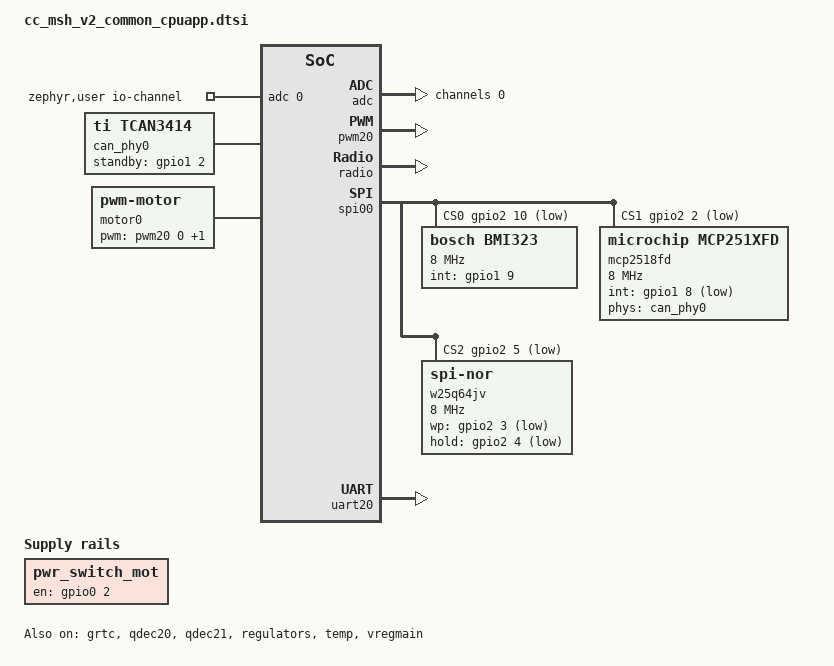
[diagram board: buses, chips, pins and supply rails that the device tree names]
/*
 * Copyright (c) 2025 Classified Cycling BV
 *
 * SPDX-License-Identifier: Apache-2.0
 */

/* This file is common to the secure and non-secure domain */

#include "cc_msh_v2_common.dtsi"

/ {
	chosen {
		zephyr,console = &uart20;
		zephyr,shell-uart = &uart20;
		zephyr,uart-mcumgr = &uart20;
		zephyr,bt-mon-uart = &uart20;
		zephyr,bt-c2h-uart = &uart20;
		zephyr,flash-controller = &rram_controller;
		zephyr,flash = &cpuapp_rram;
		zephyr,canbus = &mcp2518fd;
	};

	aliases {
		adc = &adc;
		encoder = &qdec20;
		motor = &motor0;
		pwr-switch-mot = &pwr_switch_mot;
		spi-flash0 = &w25q64jv;
	};

	zephyr,user {
		io-channels = <&adc 0>;
	};

	can_phy0: can-phy0 {
		compatible = "ti,tcan3414", "can-transceiver-gpio";
		standby-gpios = <&gpio1 2 GPIO_ACTIVE_HIGH>;
		min-bitrate = <10000>;
		max-bitrate = <8000000>;
		#phy-cells = <0>;
		status = "okay";
	};

	/* Regulator controlling the on-board +12VDC motor supply (TPS62148) */
	pwr_switch_mot: pwr-switch-mot  {
		compatible = "regulator-fixed";
		enable-gpios = <&gpio0 2 GPIO_ACTIVE_HIGH>;
		regulator-name = "pwr_switch_mot";
		startup-delay-us = <0>;
		off-on-delay-us = <8000>;  // TODO: Validate if 8 ms is still correct
	};

	motor0: motor_0 {
		compatible = "pwm-motor";
		pwms = <&pwm20 0 PWM_MSEC(1) PWM_POLARITY_NORMAL>,
		       <&pwm20 1 PWM_MSEC(1) PWM_POLARITY_NORMAL>;
		pwm-names ="alpha", "beta";
		regulators = <&pwr_switch_mot>;
	};
};

&adc {
	status = "okay";
	#address-cells = <1>;
	#size-cells = <0>;

	channel@0 {
		reg = <0>;
		zephyr,gain = "ADC_GAIN_1_4"; /* V_ISENSE = 3.0 V max */
		zephyr,reference = "ADC_REF_INTERNAL"; /* VREF = 0.9 V */
		zephyr,acquisition-time = <ADC_ACQ_TIME_DEFAULT>;
		zephyr,input-positive = <NRF_SAADC_AIN1>;
		zephyr,resolution = <12>;
		zephyr,oversampling = <4>;
	};
};

&lfxo {
	load-capacitors = "internal";
	load-capacitance-femtofarad = <15500>;
};

&hfxo {
	load-capacitors = "internal";
	load-capacitance-femtofarad = <15000>;
};

&clock {
	status = "okay";
};

&cpuapp_sram {
	status = "okay";
};

&gpio0 {
	status = "okay";
};

&gpio1 {
	status = "okay";
};

&gpio2 {
	status = "okay";
};

&gpiote20 {
	status = "okay";
};

&gpiote30 {
	status = "okay";
};

&grtc {
	owned-channels = <0 1 2 3 4 5 6 7 8 9 10 11>;
	/* Channels 7-11 reserved for Zero Latency IRQs, 3-4 for FLPR */
	child-owned-channels = <3 4 7 8 9 10 11>;
	status = "okay";
};

&pwm20 {
	status = "okay";
	pinctrl-0 = <&pwm20_default>;
	pinctrl-1 = <&pwm20_sleep>;
	pinctrl-names = "default", "sleep";
};

&qdec20 {
	status = "okay";
	pinctrl-0 = <&qdec20_default>;
	pinctrl-1 = <&qdec20_sleep>;
	pinctrl-names = "default", "sleep";
	led-pre = <0>; /* Must be set to zero for a non-LED based encoder. */
	// steps = <1200>;  // For Tronsun 12GFN30-100-06150E (3 PPR x 100: 1)
	// steps = <2400>;  // For Tronsun 12GRN30-199-06100E (3 PPR x 199: 1)
	// steps = <2520>;  // For TT-GM12-N30VA (3 PPR x 210: 1)
	steps = <2592>;  // For Zhaowei ZWMD012012-216E (3 PPR x 216: 1)
};

&qdec21 {
	status = "okay";
	pinctrl-0 = <&qdec21_default>;
	pinctrl-1 = <&qdec21_sleep>;
	pinctrl-names = "default", "sleep";
	led-pre = <0>; /* Must be set to zero for a non-LED based encoder. */
	steps = <80>;
};

&radio {
	status = "okay";
};

&regulators {
	status = "okay";
};

&spi00 {
	status = "okay";
	cs-gpios = <&gpio2 10 GPIO_ACTIVE_LOW>,
	           <&gpio2 2 GPIO_ACTIVE_LOW>,
	           <&gpio2 5 GPIO_ACTIVE_LOW>;
	pinctrl-0 = <&spi00_default>;
	pinctrl-1 = <&spi00_sleep>;
	pinctrl-names = "default", "sleep";

	bmi323: bmi323@0 {
		compatible = "bosch,bmi323";
		reg = <0>;
		status = "okay";
		spi-max-frequency = <8000000>; /* 8 MHz */
		int-gpios = <&gpio1 9 0>; /* Zephyr driver maps all interrupts to INT1 */
	};

	mcp2518fd: mcp2518fd@1 {
		compatible = "microchip,mcp251xfd";
		reg = <1>;
		status = "okay";
		spi-max-frequency = <8000000>; /* 8 MHz */
		int-gpios = <&gpio1 8 GPIO_ACTIVE_LOW>;
		osc-freq = <40000000>; /* 40 MHz */
		phys = <&can_phy0>;
	};

	w25q64jv: w25q64jv@2 {
		compatible = "jedec,spi-nor";
		reg = <2>;
		status = "okay";
		spi-max-frequency = <8000000>; /* 8 MHz */
		size = <DT_SIZE_M(64)>; /* 64 Mbits */
		jedec-id = [ef 40 17];
		has-dpd;
		t-enter-dpd = <3500>;
		t-exit-dpd = <3500>;
		wp-gpios = <&gpio2 3 GPIO_ACTIVE_LOW>;
		hold-gpios = <&gpio2 4 GPIO_ACTIVE_LOW>;
	};
};

&temp {
	status = "okay";
};

&uart20 {
	status = "okay";
};

&uicr {
	nfct-pins-as-gpios;
};

&vregmain {
	status = "okay";
	regulator-initial-mode = <NRF5X_REG_MODE_DCDC>;
};
